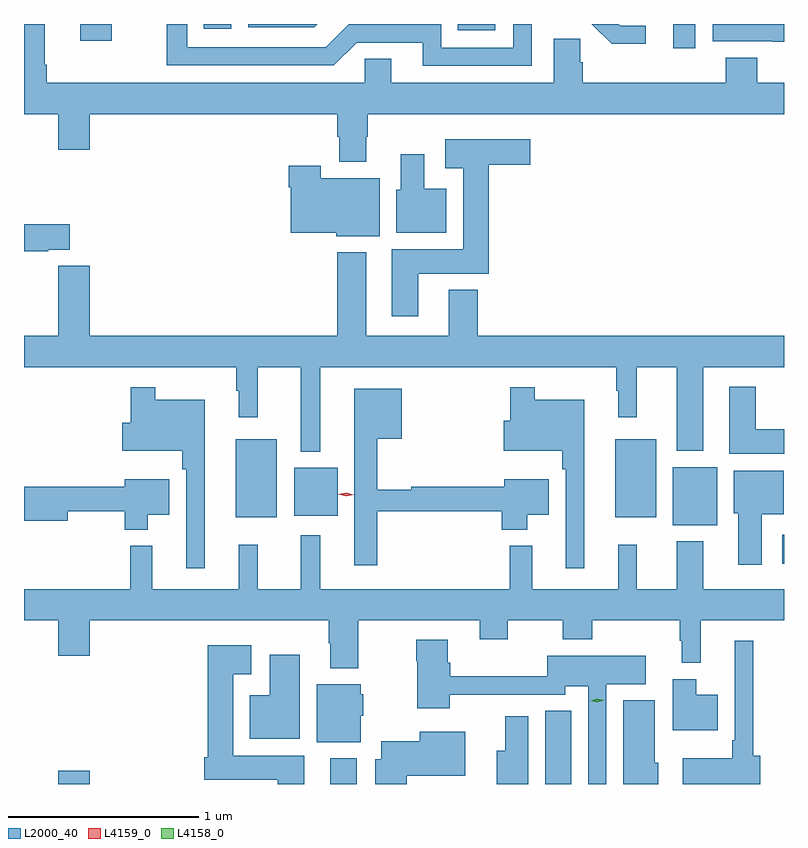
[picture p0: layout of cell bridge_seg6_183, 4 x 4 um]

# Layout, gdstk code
import gdstk
lib = gdstk.Library(unit=1e-6, precision=1e-09)
def R(c, l, rs):  # rectangles x0, y0, x1, y1
    for r in rs: c.add(gdstk.rectangle(r[:2], r[2:], *l))
def P(c, l, *ps):  # polygons
    for p in ps: c.add(gdstk.Polygon(p, *l))
L2000_40 = (2000, 40)
L4158_0 = (4158, 0)
L4159_0 = (4159, 0)

bridge_seg6_183 = lib.new_cell('bridge_seg6_183')
R(bridge_seg6_183, L2000_40, [(308.864,927.826,309.028,927.895), (310.295,927.826,310.435,927.961), (311.426,927.826,311.563,928.211), (312.675,928.985,312.683,929.137), (312.098,929.189,312.331,929.494), (309.797,929.231,310.012,929.641), (311.795,929.231,312.01,929.641), (310.106,929.237,310.333,929.491), (312.101,931.698,312.216,931.826), (308.978,931.737,309.144,931.826), (310.966,931.793,311.164,931.826), (309.628,931.8,309.774,931.826)])
P(bridge_seg6_183, L2000_40, [(311.956,931.818),(311.821,931.818),(311.813,931.826),(311.671,931.826),(311.777,931.721),(311.956,931.721)],
  [(312.683,931.826),(312.309,931.826),(312.309,931.734),(312.625,931.734),(312.625,931.733),(312.683,931.733)],
  [(310.227,931.826),(309.864,931.826),(309.864,931.809),(310.21,931.809)],
  [(311.355,931.826),(311.259,931.826),(311.259,931.701),(310.878,931.701),(310.878,931.824),(310.392,931.824),(310.272,931.704),(309.543,931.704),(309.543,931.826),(309.435,931.826),(309.435,931.608),(310.314,931.608),(310.434,931.728),(310.781,931.728),(310.781,931.605),(311.355,931.605)],
  [(310.483,931.232),(310.491,931.232),(310.491,931.352),(312.683,931.352),(312.683,931.516),(312.542,931.516),(312.542,931.649),(312.377,931.649),(312.377,931.516),(311.624,931.516),(311.624,931.625),(311.61,931.625),(311.61,931.748),(311.471,931.748),(311.471,931.516),(310.615,931.516),(310.615,931.643),(310.476,931.643),(310.476,931.516),(308.804,931.516),(308.804,931.612),(308.791,931.612),(308.791,931.826),(308.683,931.826),(308.683,931.352),(308.864,931.352),(308.864,931.164),(309.028,931.164),(309.028,931.352),(310.331,931.352),(310.331,931.232),(310.343,931.232),(310.343,931.1),(310.483,931.1)],
  [(310.759,930.512),(311.129,930.512),(311.129,931.085),(311.347,931.085),(311.347,931.219),(310.899,931.219),(310.899,931.067),(310.994,931.067),(310.994,930.64),(310.619,930.64),(310.619,930.288),(310.759,930.288)],
  [(310.906,930.958),(310.789,930.958),(310.789,931.141),(310.667,931.141),(310.667,930.954),(310.643,930.954),(310.643,930.728),(310.906,930.728)],
  [(310.555,931.015),(310.246,931.015),(310.246,931.081),(310.076,931.081),(310.076,930.968),(310.088,930.968),(310.088,930.728),(310.326,930.728),(310.326,930.71),(310.555,930.71)],
  [(308.81,930.638),(308.923,930.638),(308.923,930.773),(308.683,930.773),(308.683,930.631),(308.81,930.631)],
  [(310.243,930.02),(311.799,930.02),(311.799,929.897),(311.81,929.897),(311.81,929.757),(311.909,929.757),(311.909,930.02),(312.119,930.02),(312.119,929.579),(312.259,929.579),(312.259,930.02),(312.683,930.02),(312.683,930.184),(311.072,930.184),(311.072,930.427),(310.919,930.427),(310.919,930.184),(310.483,930.184),(310.483,930.625),(310.331,930.625),(310.331,930.184),(309.028,930.184),(309.028,930.553),(308.864,930.553),(308.864,930.184),(308.683,930.184),(308.683,930.02),(309.801,930.02),(309.801,929.897),(309.812,929.897),(309.812,929.757),(309.912,929.757),(309.912,930.02),(310.139,930.02),(310.139,929.576),(310.243,929.576)],
  [(312.683,929.692),(312.535,929.692),(312.535,929.917),(312.395,929.917),(312.395,929.564),(312.683,929.564)],
  [(309.634,929.848),(309.373,929.848),(309.373,929.914),(309.244,929.914),(309.244,929.727),(309.2,929.727),(309.2,929.579),(309.517,929.579),(309.517,929.483),(309.537,929.483),(309.537,928.962),(309.634,928.962)],
  [(311.632,929.848),(311.371,929.848),(311.371,929.914),(311.242,929.914),(311.242,929.737),(311.208,929.737),(311.208,929.579),(311.515,929.579),(311.515,929.483),(311.535,929.483),(311.535,928.962),(311.632,928.962)],
  [(310.543,929.262),(311.198,929.262),(311.198,929.165),(311.332,929.165),(311.332,929.243),(311.446,929.243),(311.446,929.431),(311.21,929.431),(311.21,929.39),(310.721,929.39),(310.721,929.375),(310.543,929.375),(310.543,929.642),(310.672,929.642),(310.672,929.905),(310.421,929.905),(310.421,928.977),(310.543,928.977)],
  [(312.565,929.246),(312.682,929.246),(312.682,929.476),(312.419,929.476),(312.419,929.25),(312.443,929.25),(312.443,928.98),(312.565,928.98)],
  [(309.334,929.243),(309.448,929.243),(309.448,929.431),(309.212,929.431),(309.212,929.39),(308.683,929.39),(308.683,929.212),(308.914,929.212),(308.914,929.262),(309.212,929.262),(309.212,929.165),(309.334,929.165)],
  [(310.243,929.134),(310.139,929.134),(310.139,928.852),(309.912,928.852),(309.912,929.086),(309.812,929.086),(309.812,928.852),(309.359,928.852),(309.359,929.08),(309.241,929.08),(309.241,928.852),(308.683,928.852),(308.683,928.688),(308.864,928.688),(308.864,928.5),(309.028,928.5),(309.028,928.688),(310.288,928.688),(310.288,928.568),(310.295,928.568),(310.295,928.436),(310.443,928.436),(310.443,928.688),(311.081,928.688),(311.081,928.589),(311.229,928.589),(311.229,928.688),(311.518,928.688),(311.518,928.589),(311.673,928.589),(311.673,928.688),(312.135,928.688),(312.135,928.581),(312.146,928.581),(312.146,928.463),(312.245,928.463),(312.245,928.688),(312.683,928.688),(312.683,928.852),(312.259,928.852),(312.259,929.104),(312.119,929.104),(312.119,928.852),(311.909,928.852),(311.909,929.086),(311.81,929.086),(311.81,928.852),(311.357,928.852),(311.357,929.08),(311.239,929.08),(311.239,928.852),(310.243,928.852)],
  [(311.748,928.352),(311.956,928.352),(311.956,928.501),(311.436,928.501),(311.436,928.394),(310.927,928.394),(310.927,928.464),(310.912,928.464),(310.912,928.585),(310.747,928.585),(310.747,928.472),(310.754,928.472),(310.754,928.224),(310.925,928.224),(310.925,928.295),(311.12,928.295),(311.12,928.296),(311.532,928.296),(311.532,928.34),(311.652,928.34),(311.652,927.826),(311.748,927.826)],
  [(312.559,927.974),(312.52,927.974),(312.52,928.579),(312.423,928.579),(312.423,928.057),(312.411,928.057),(312.411,927.961),(312.15,927.961),(312.15,927.826),(312.559,927.826)],
  [(310.159,927.976),(309.784,927.976),(309.784,928.403),(309.88,928.403),(309.88,928.555),(309.65,928.555),(309.65,927.966),(309.632,927.966),(309.632,927.848),(310.019,927.848),(310.019,927.826),(310.159,927.826)],
  [(310.135,928.507),(309.977,928.507),(309.977,928.294),(309.872,928.294),(309.872,928.064),(310.135,928.064)],
  [(312.334,928.297),(312.22,928.297),(312.22,928.378),(312.098,928.378),(312.098,928.109),(312.334,928.109)],
  [(310.456,928.185),(310.468,928.185),(310.468,928.299),(310.456,928.299),(310.456,928.351),(310.223,928.351),(310.223,928.046),(310.456,928.046)],
  [(312.022,927.939),(312.004,927.939),(312.004,928.267),(311.837,928.267),(311.837,927.826),(312.022,927.826)],
  [(311.338,928.183),(311.216,928.183),(311.216,928),(311.171,928),(311.171,927.826),(311.338,927.826)],
  [(310.698,927.869),(311.005,927.869),(311.005,928.102),(310.766,928.102),(310.766,928.051),(310.562,928.051),(310.562,927.956),(310.532,927.956),(310.532,927.826),(310.698,927.826)])
P(bridge_seg6_183, L4158_0, [(311.699,928.256),(311.665,928.265),(311.664,928.265),(311.665,928.265),(311.699,928.276),(311.734,928.266),(311.734,928.266),(311.734,928.266)])
P(bridge_seg6_183, L4159_0, [(310.378,929.34),(310.337,929.352),(310.337,929.352),(310.337,929.352),(310.379,929.36),(310.419,929.349),(310.419,929.348),(310.419,929.348)])

lib.write_gds('bridge_seg6_183.gds')
